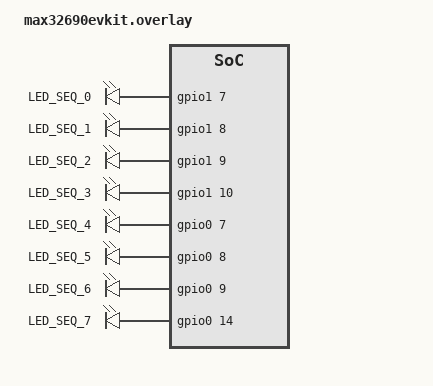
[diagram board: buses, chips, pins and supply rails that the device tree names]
/ {
    leds {
        compatible = "gpio-leds";
        led_seq_0: led_seq_0 {
            gpios = <&gpio1 7 (GPIO_ACTIVE_HIGH | MAX32_GPIO_VSEL_VDDIOH)>;
            label = "LED_SEQ_0";
        };
        led_seq_1: led_seq_1 {
            gpios = <&gpio1 8 (GPIO_ACTIVE_HIGH | MAX32_GPIO_VSEL_VDDIOH)>;
            label = "LED_SEQ_1";
        };
        led_seq_2: led_seq_2 {
            gpios = <&gpio1 9 (GPIO_ACTIVE_HIGH | MAX32_GPIO_VSEL_VDDIOH)>;
            label = "LED_SEQ_2";
        };
        led_seq_3: led_seq_3 {
            gpios = <&gpio1 10 (GPIO_ACTIVE_HIGH | MAX32_GPIO_VSEL_VDDIOH)>;
            label = "LED_SEQ_3";
        };
        led_seq_4: led_seq_4 {
            gpios = <&gpio0 7 (GPIO_ACTIVE_HIGH | MAX32_GPIO_VSEL_VDDIOH)>;
            label = "LED_SEQ_4";
        };
        led_seq_5: led_seq_5 {
            gpios = <&gpio0 8 (GPIO_ACTIVE_HIGH | MAX32_GPIO_VSEL_VDDIOH)>;
            label = "LED_SEQ_5";
        };
        led_seq_6: led_seq_6 {
            gpios = <&gpio0 9 (GPIO_ACTIVE_HIGH | MAX32_GPIO_VSEL_VDDIOH)>;
            label = "LED_SEQ_6";
        };
        led_seq_7: led_seq_7 {
            gpios = <&gpio0 14 (GPIO_ACTIVE_HIGH | MAX32_GPIO_VSEL_VDDIOH)>;
            label = "LED_SEQ_7";
        };
    };

    aliases {
        led-seq-0 = &led_seq_0;
        led-seq-1 = &led_seq_1;
        led-seq-2 = &led_seq_2;
        led-seq-3 = &led_seq_3;
        led-seq-4 = &led_seq_4;
        led-seq-5 = &led_seq_5;
        led-seq-6 = &led_seq_6;
        led-seq-7 = &led_seq_7;
    };
};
